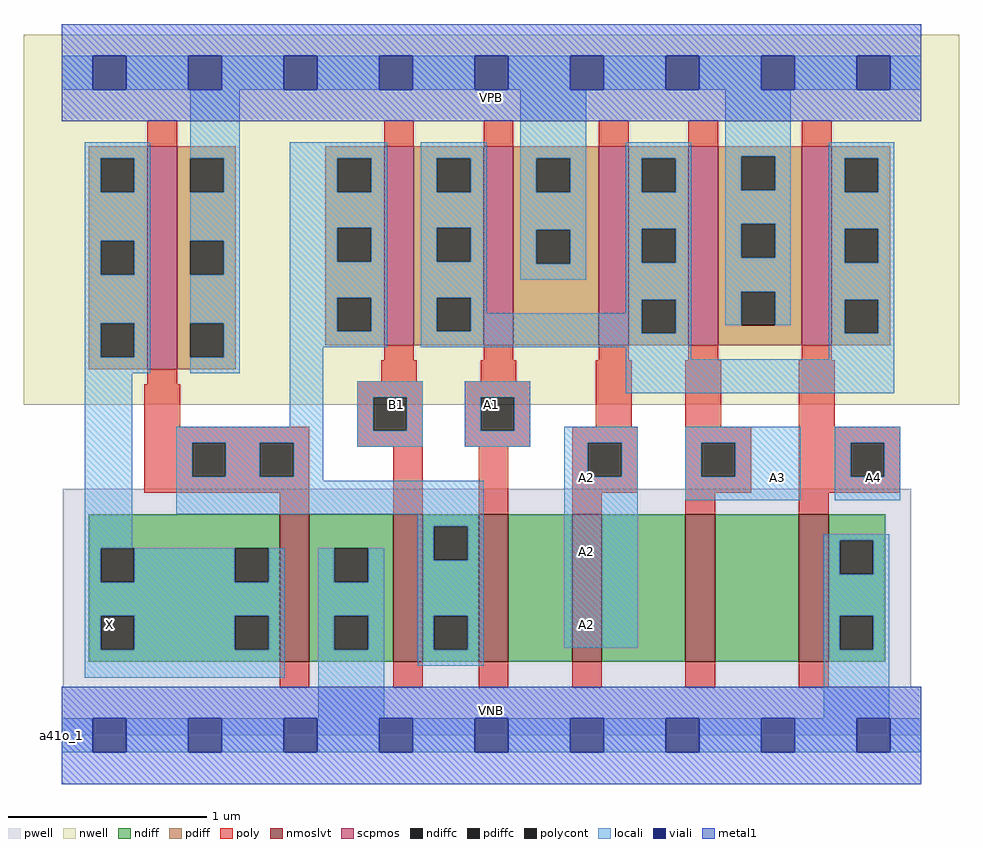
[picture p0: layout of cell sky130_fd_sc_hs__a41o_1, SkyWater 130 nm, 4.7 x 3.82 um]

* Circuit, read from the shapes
.subckt sky130_fd_sc_hs__a41o_1 A1 A2 A3 A4 B1 VGND VNB VPB VPWR X
XM1 VGND n1 X VNB sky130_fd_pr__nfet_01v8_lvt w=0.74 l=0.15
XM2 n1 B1 VGND VNB sky130_fd_pr__nfet_01v8_lvt w=0.74 l=0.15
XM3 n2 A1 n1 VNB sky130_fd_pr__nfet_01v8_lvt w=0.74 l=0.15
XM4 n3 A2 n2 VNB sky130_fd_pr__nfet_01v8_lvt w=0.74 l=0.15
XM5 n4 A3 n3 VNB sky130_fd_pr__nfet_01v8_lvt w=0.74 l=0.15
XM6 VGND A4 n4 VNB sky130_fd_pr__nfet_01v8_lvt w=0.74 l=0.15
XM7 VPWR n1 X VPB sky130_fd_pr__pfet_01v8 w=1.12 l=0.15
XM8 n5 B1 n1 VPB sky130_fd_pr__pfet_01v8 w=1 l=0.15
XM9 VPWR A1 n5 VPB sky130_fd_pr__pfet_01v8 w=1 l=0.15
XM10 n5 A2 VPWR VPB sky130_fd_pr__pfet_01v8 w=1 l=0.15
XM11 VPWR A3 n5 VPB sky130_fd_pr__pfet_01v8 w=1 l=0.15
XM12 n5 A4 VPWR VPB sky130_fd_pr__pfet_01v8 w=1 l=0.15
.ends

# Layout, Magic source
magic
tech sky130A
magscale 1 2
<< nwell >>
rect -38 332 902 704
<< pwell >>
rect 1 49 854 248
rect 0 0 864 49
<< scpmos >>
rect 86 368 116 592
rect 324 392 354 592
rect 424 392 454 592
rect 540 392 570 592
rect 630 392 660 592
rect 744 392 774 592
<< nmoslvt >>
rect 219 74 249 222
rect 333 74 363 222
rect 419 74 449 222
rect 513 74 543 222
rect 627 74 657 222
rect 741 74 771 222
<< ndiff >>
rect 27 188 219 222
rect 27 154 39 188
rect 73 154 174 188
rect 208 154 219 188
rect 27 120 219 154
rect 27 86 39 120
rect 73 86 174 120
rect 208 86 219 120
rect 27 74 219 86
rect 249 188 333 222
rect 249 154 274 188
rect 308 154 333 188
rect 249 120 333 154
rect 249 86 274 120
rect 308 86 333 120
rect 249 74 333 86
rect 363 210 419 222
rect 363 176 374 210
rect 408 176 419 210
rect 363 120 419 176
rect 363 86 374 120
rect 408 86 419 120
rect 363 74 419 86
rect 449 74 513 222
rect 543 74 627 222
rect 657 74 741 222
rect 771 196 828 222
rect 771 162 782 196
rect 816 162 828 196
rect 771 120 828 162
rect 771 86 782 120
rect 816 86 828 120
rect 771 74 828 86
<< pdiff >>
rect 27 580 86 592
rect 27 546 39 580
rect 73 546 86 580
rect 27 497 86 546
rect 27 463 39 497
rect 73 463 86 497
rect 27 414 86 463
rect 27 380 39 414
rect 73 380 86 414
rect 27 368 86 380
rect 116 580 175 592
rect 116 546 129 580
rect 163 546 175 580
rect 116 497 175 546
rect 116 463 129 497
rect 163 463 175 497
rect 116 414 175 463
rect 116 380 129 414
rect 163 380 175 414
rect 265 580 324 592
rect 265 546 277 580
rect 311 546 324 580
rect 265 510 324 546
rect 265 476 277 510
rect 311 476 324 510
rect 265 440 324 476
rect 265 406 277 440
rect 311 406 324 440
rect 265 392 324 406
rect 354 580 424 592
rect 354 546 377 580
rect 411 546 424 580
rect 354 510 424 546
rect 354 476 377 510
rect 411 476 424 510
rect 354 440 424 476
rect 354 406 377 440
rect 411 406 424 440
rect 354 392 424 406
rect 454 580 540 592
rect 454 546 477 580
rect 511 546 540 580
rect 454 508 540 546
rect 454 474 477 508
rect 511 474 540 508
rect 454 392 540 474
rect 570 580 630 592
rect 570 546 583 580
rect 617 546 630 580
rect 570 509 630 546
rect 570 475 583 509
rect 617 475 630 509
rect 570 438 630 475
rect 570 404 583 438
rect 617 404 630 438
rect 570 392 630 404
rect 660 582 744 592
rect 660 548 683 582
rect 717 548 744 582
rect 660 514 744 548
rect 660 480 683 514
rect 717 480 744 514
rect 660 446 744 480
rect 660 412 683 446
rect 717 412 744 446
rect 660 392 744 412
rect 774 580 833 592
rect 774 546 787 580
rect 821 546 833 580
rect 774 509 833 546
rect 774 475 787 509
rect 821 475 833 509
rect 774 438 833 475
rect 774 404 787 438
rect 821 404 833 438
rect 774 392 833 404
rect 116 368 175 380
<< ndiffc >>
rect 39 154 73 188
rect 174 154 208 188
rect 39 86 73 120
rect 174 86 208 120
rect 274 154 308 188
rect 274 86 308 120
rect 374 176 408 210
rect 374 86 408 120
rect 782 162 816 196
rect 782 86 816 120
<< pdiffc >>
rect 39 546 73 580
rect 39 463 73 497
rect 39 380 73 414
rect 129 546 163 580
rect 129 463 163 497
rect 129 380 163 414
rect 277 546 311 580
rect 277 476 311 510
rect 277 406 311 440
rect 377 546 411 580
rect 377 476 411 510
rect 377 406 411 440
rect 477 546 511 580
rect 477 474 511 508
rect 583 546 617 580
rect 583 475 617 509
rect 583 404 617 438
rect 683 548 717 582
rect 683 480 717 514
rect 683 412 717 446
rect 787 546 821 580
rect 787 475 821 509
rect 787 404 821 438
<< poly >>
rect 86 592 116 618
rect 324 592 354 618
rect 424 592 454 618
rect 540 592 570 618
rect 630 592 660 618
rect 744 592 774 618
rect 324 377 354 392
rect 424 377 454 392
rect 540 377 570 392
rect 630 377 660 392
rect 744 377 774 392
rect 86 353 116 368
rect 321 356 357 377
rect 421 356 457 377
rect 83 310 119 353
rect 297 340 363 356
rect 83 294 249 310
rect 83 260 131 294
rect 165 260 199 294
rect 233 260 249 294
rect 297 306 313 340
rect 347 306 363 340
rect 297 290 363 306
rect 405 340 471 356
rect 405 306 421 340
rect 455 306 471 340
rect 537 310 573 377
rect 627 310 663 377
rect 741 310 777 377
rect 405 290 471 306
rect 513 294 579 310
rect 83 244 249 260
rect 219 222 249 244
rect 333 222 363 290
rect 419 222 449 290
rect 513 260 529 294
rect 563 260 579 294
rect 513 244 579 260
rect 627 294 693 310
rect 627 260 643 294
rect 677 260 693 294
rect 627 244 693 260
rect 741 294 843 310
rect 741 260 793 294
rect 827 260 843 294
rect 741 244 843 260
rect 513 222 543 244
rect 627 222 657 244
rect 741 222 771 244
rect 219 48 249 74
rect 333 48 363 74
rect 419 48 449 74
rect 513 48 543 74
rect 627 48 657 74
rect 741 48 771 74
<< polycont >>
rect 131 260 165 294
rect 199 260 233 294
rect 313 306 347 340
rect 421 306 455 340
rect 529 260 563 294
rect 643 260 677 294
rect 793 260 827 294
<< locali >>
rect 0 649 31 683
rect 65 649 127 683
rect 161 649 223 683
rect 257 649 319 683
rect 353 649 415 683
rect 449 649 511 683
rect 545 649 607 683
rect 641 649 703 683
rect 737 649 799 683
rect 833 649 864 683
rect 23 580 89 596
rect 23 546 39 580
rect 73 546 89 580
rect 23 497 89 546
rect 23 463 39 497
rect 73 463 89 497
rect 23 414 89 463
rect 23 380 39 414
rect 73 380 89 414
rect 23 364 89 380
rect 129 580 179 649
rect 163 546 179 580
rect 129 497 179 546
rect 163 463 179 497
rect 129 414 179 463
rect 163 380 179 414
rect 129 364 179 380
rect 229 580 327 596
rect 229 546 277 580
rect 311 546 327 580
rect 229 510 327 546
rect 229 476 277 510
rect 311 476 327 510
rect 229 440 327 476
rect 229 406 277 440
rect 311 406 327 440
rect 229 390 327 406
rect 361 580 427 596
rect 361 546 377 580
rect 411 546 427 580
rect 361 510 427 546
rect 361 476 377 510
rect 411 476 427 510
rect 361 440 427 476
rect 461 580 527 649
rect 461 546 477 580
rect 511 546 527 580
rect 461 508 527 546
rect 461 474 477 508
rect 511 474 527 508
rect 461 458 527 474
rect 567 580 633 596
rect 567 546 583 580
rect 617 546 633 580
rect 567 509 633 546
rect 567 475 583 509
rect 617 475 633 509
rect 361 406 377 440
rect 411 424 427 440
rect 567 438 633 475
rect 567 424 583 438
rect 411 406 583 424
rect 361 404 583 406
rect 617 404 633 438
rect 667 582 733 649
rect 667 548 683 582
rect 717 548 733 582
rect 667 514 733 548
rect 667 480 683 514
rect 717 480 733 514
rect 667 446 733 480
rect 667 412 683 446
rect 717 412 733 446
rect 771 580 837 596
rect 771 546 787 580
rect 821 546 837 580
rect 771 509 837 546
rect 771 475 787 509
rect 821 475 837 509
rect 771 438 837 475
rect 361 390 633 404
rect 23 188 71 364
rect 229 310 263 390
rect 567 378 633 390
rect 771 404 787 438
rect 821 404 837 438
rect 771 378 837 404
rect 115 294 263 310
rect 115 260 131 294
rect 165 260 199 294
rect 233 260 263 294
rect 297 340 363 356
rect 297 306 313 340
rect 347 306 363 340
rect 297 290 363 306
rect 405 340 471 356
rect 567 344 837 378
rect 405 306 421 340
rect 455 306 471 340
rect 405 290 471 306
rect 505 294 579 310
rect 115 256 263 260
rect 505 260 529 294
rect 563 260 579 294
rect 115 222 424 256
rect 358 210 424 222
rect 23 154 39 188
rect 73 154 174 188
rect 208 154 224 188
rect 23 120 224 154
rect 23 86 39 120
rect 73 86 174 120
rect 208 86 224 120
rect 23 58 224 86
rect 258 154 274 188
rect 308 154 324 188
rect 258 120 324 154
rect 258 86 274 120
rect 308 86 324 120
rect 258 17 324 86
rect 358 176 374 210
rect 408 176 424 210
rect 358 120 424 176
rect 358 86 374 120
rect 408 86 424 120
rect 505 88 579 260
rect 627 294 743 310
rect 627 260 643 294
rect 677 260 743 294
rect 627 236 743 260
rect 777 294 843 310
rect 777 260 793 294
rect 827 260 843 294
rect 777 236 843 260
rect 766 196 832 202
rect 766 162 782 196
rect 816 162 832 196
rect 766 120 832 162
rect 358 70 424 86
rect 766 86 782 120
rect 816 86 832 120
rect 766 17 832 86
rect 0 -17 31 17
rect 65 -17 127 17
rect 161 -17 223 17
rect 257 -17 319 17
rect 353 -17 415 17
rect 449 -17 511 17
rect 545 -17 607 17
rect 641 -17 703 17
rect 737 -17 799 17
rect 833 -17 864 17
<< viali >>
rect 31 649 65 683
rect 127 649 161 683
rect 223 649 257 683
rect 319 649 353 683
rect 415 649 449 683
rect 511 649 545 683
rect 607 649 641 683
rect 703 649 737 683
rect 799 649 833 683
rect 31 -17 65 17
rect 127 -17 161 17
rect 223 -17 257 17
rect 319 -17 353 17
rect 415 -17 449 17
rect 511 -17 545 17
rect 607 -17 641 17
rect 703 -17 737 17
rect 799 -17 833 17
<< metal1 >>
rect 0 683 864 715
rect 0 649 31 683
rect 65 649 127 683
rect 161 649 223 683
rect 257 649 319 683
rect 353 649 415 683
rect 449 649 511 683
rect 545 649 607 683
rect 641 649 703 683
rect 737 649 799 683
rect 833 649 864 683
rect 0 617 864 649
rect 0 17 864 49
rect 0 -17 31 17
rect 65 -17 127 17
rect 161 -17 223 17
rect 257 -17 319 17
rect 353 -17 415 17
rect 449 -17 511 17
rect 545 -17 607 17
rect 641 -17 703 17
rect 737 -17 799 17
rect 833 -17 864 17
rect 0 -49 864 -17
<< labels >>
rlabel comment s 0 0 0 0 4 a41o_1
flabel pwell s 0 0 864 49 0 FreeSans 200 0 0 0 VNB
port 7 nsew ground bidirectional
flabel nwell s 0 617 864 666 0 FreeSans 200 0 0 0 VPB
port 8 nsew power bidirectional
flabel metal1 s 0 617 864 666 0 FreeSans 340 0 0 0 VPWR
port 9 nsew power bidirectional
flabel metal1 s 0 0 864 49 0 FreeSans 340 0 0 0 VGND
port 6 nsew ground bidirectional
flabel locali s 799 242 833 276 0 FreeSans 340 0 0 0 A4
port 4 nsew signal input
flabel locali s 415 316 449 350 0 FreeSans 340 0 0 0 A1
port 1 nsew signal input
flabel locali s 511 94 545 128 0 FreeSans 340 0 0 0 A2
port 2 nsew signal input
flabel locali s 511 168 545 202 0 FreeSans 340 0 0 0 A2
port 2 nsew signal input
flabel locali s 511 242 545 276 0 FreeSans 340 0 0 0 A2
port 2 nsew signal input
flabel locali s 703 242 737 276 0 FreeSans 340 0 0 0 A3
port 3 nsew signal input
flabel locali s 319 316 353 350 0 FreeSans 340 0 0 0 B1
port 5 nsew signal input
flabel locali s 31 94 65 128 0 FreeSans 340 0 0 0 X
port 10 nsew signal output
<< properties >>
string LEFsite unit
string LEFclass CORE
string FIXED_BBOX 0 0 864 666
string GDS_FILE $PDKPATH/libs.ref/sky130_fd_sc_hs/gds/sky130_fd_sc_hs.gds
string LEFsymmetry X Y
string GDS_END 3645428
string GDS_START 3637384
<< end >>
